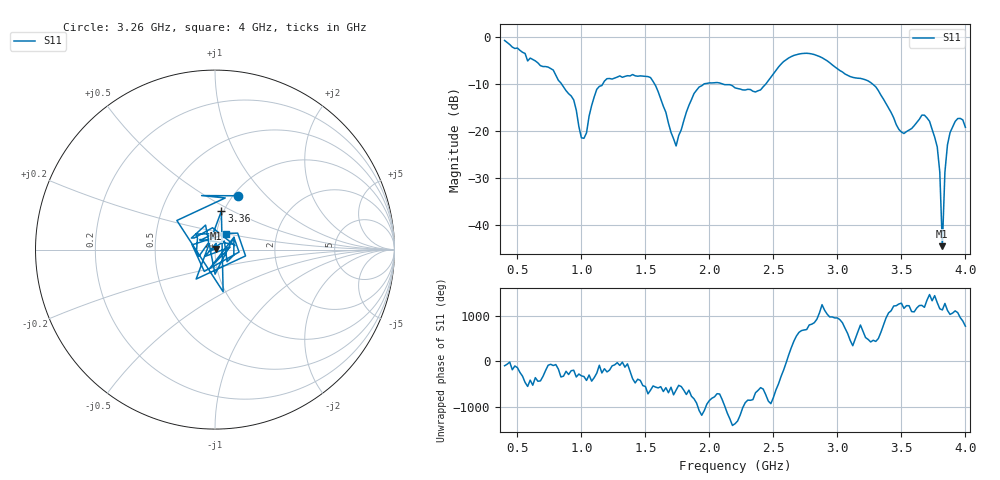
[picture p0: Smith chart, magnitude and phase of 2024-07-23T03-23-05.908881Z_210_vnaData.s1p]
!Created with skrf (http://scikit-rf.org).
# Hz S RI R 50.0
!freq ReS11 ImS11
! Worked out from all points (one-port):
!   181 points, 400 MHz to 4 GHz, reference 50 ohm
!   lowest |S11| = -44.6 dB at 3.82 GHz (marker M1), VSWR 1.01, Z = 50.4 + j0.473 ohm
!   |S11| at or under -10 dB: 1.571 GHz to 1.96 GHz (389.6 MHz wide, 22.1 % of centre); 2.099 GHz to 2.442 GHz (343.2 MHz wide, 15.1 % of centre); 3.272 GHz to end of sweep (the widest 3 of 4)
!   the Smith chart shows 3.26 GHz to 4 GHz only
!   S11 on the Smith chart (normalised r, x): 3.26 GHz: 1.05, +0.71; 3.36 GHz: 0.98, +0.44; 4 GHz: 1.11, +0.20
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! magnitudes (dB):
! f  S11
! 400 MHz  -0.8
! 780 MHz  -7.1
! 860 MHz  -10.7
! 940 MHz  -13.4
! 1 GHz  -21.5
! 1.02 GHz  -21.6
! 1.12 GHz  -11.2
! 1.3 GHz  -8.3
! 1.54 GHz  -8.7
! 1.74 GHz  -23.3
! 1.76 GHz  -21.0
! 1.92 GHz  -10.7
! 2.2 GHz  -10.9
! 2.4 GHz  -11.3
! 2.66 GHz  -4.0
! 3.1 GHz  -8.5
! 3.26 GHz  -9.7
! 3.36 GHz  -13.3
! 3.48 GHz  -19.7
! 3.56 GHz  -19.9
! 3.68 GHz  -16.7
! 3.76 GHz  -21.4
! 3.8 GHz  -28.8
! 3.82 GHz  -44.6
! 3.84 GHz  -28.8
! 3.86 GHz  -23.0
! 3.94 GHz  -17.4
! 4 GHz  -19.3
